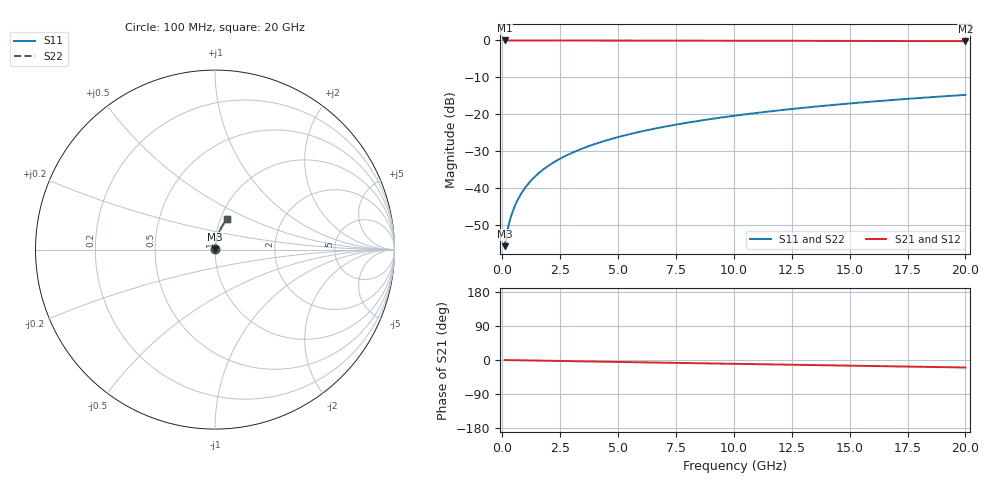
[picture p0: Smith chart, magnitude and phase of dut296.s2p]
! Touchstone file exported from HFSS 2026.1.0
!  File:  C:/ffzhzh/LocalFiles/Ansys_Project_Files/temp_train_BSMRDL_296_1782989355_45328.aedt
!  Generated:  06:50:26 PM Jul  2, 2026
!  Design:  BSMRDL
!  Project:  temp_train_BSMRDL_296_1782989355_45328
! Variables:
!  h_bsmrdl = 5.5um
!  h_ox = 20um
!  h_rdl = 5um
!  h_sub = 80um
!  h_tmrdl = 5um
!  h_tsv = 80um
!  h_via = 3um
!  l_bsmrdl = 279.27um
!  l_sub = 679.27um
!  l_tmrdl = 200um
!  m_sub = 200um
!  pitch = 37.09um
!  r_tsv = 6um
!  s_tmrdl = 10um
!  w_bsmrdl = 16.18um
!  w_sub = 500um
!  w_tmrdl = 12um
!  x_tsv_center1 = 206um
!  x_tsv_center2 = 501.45um
!  x_tsv_center3 = 713.45um
!  x_tsv_center4 = 1008.9um
!  x_tsv_center5 = 1220.9um
!  x_tsv_center6 = 1516.35um
# GHz S MA R 50.000000
! Terminal data exported
! Port[1] = BSM_RDL1_1_T1
! Port[2] = BSM_RDL1_1_T2
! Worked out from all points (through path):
!   200 points, 100 MHz to 20 GHz, reference 50 ohm
!   highest |S21| = -0.01 dB at 100 MHz (marker M1); lowest = -0.2 dB at 20 GHz (marker M2)
!   group delay of S21, straight-line fit = 2.74 ps
!   lowest |S11| = -55.7 dB at 100 MHz (marker M3), VSWR 1.00, Z = 50.1 + j0.109 ohm
!   |S11| at or under -10 dB: start of sweep to end of sweep
!   |S22| runs from -55.7 to -14.7 dB; largest |S21 - S12| = 6.5e-15
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0.1  0.001646 41.5  0.9988 -0.1  0.9988 -0.1  0.001646 41.5
! Gamma 0 0 0 0
! Port Impedance 50 0 50 0
0.2  0.002495 58.6  0.9987 -0.2  0.9987 -0.2  0.002495 58.6
0.3  0.00342 66.6  0.9986 -0.3  0.9986 -0.3  0.00342 66.6
0.4  0.00437 71.2  0.9986 -0.4  0.9986 -0.4  0.00437 71.2
0.5  0.005337 74.2  0.9986 -0.5  0.9986 -0.5  0.005337 74.2
0.6  0.006315 76.3  0.9985 -0.6  0.9985 -0.6  0.006315 76.3
0.8  0.008289 79.0  0.9985 -0.8  0.9985 -0.8  0.008289 79.0
1.1  0.01127 81.0  0.9984 -1.1  0.9984 -1.1  0.01127 81.0
1.3  0.01327 81.7  0.9983 -1.4  0.9983 -1.4  0.01327 81.7
1.5  0.01526 82.2  0.9982 -1.6  0.9982 -1.6  0.01526 82.2
1.8  0.01824 82.6  0.9981 -1.9  0.9981 -1.9  0.01824 82.6
2.1  0.02121 82.8  0.9979 -2.2  0.9979 -2.2  0.02121 82.8
2.7  0.02711 82.7  0.9975 -2.8  0.9975 -2.8  0.02711 82.7
3.5  0.03488 82.4  0.9969 -3.6  0.9969 -3.6  0.03488 82.4
4.2  0.0416 81.9  0.9964 -4.3  0.9964 -4.3  0.0416 81.9
5  0.0492 81.3  0.9957 -5.1  0.9957 -5.1  0.0492 81.3
6.8  0.06607 79.9  0.9941 -6.9  0.9941 -6.9  0.06607 79.9
8.3  0.07996 78.6  0.9926 -8.4  0.9926 -8.4  0.07996 78.6
10.1  0.09644 77.1  0.9907 -10.2  0.9907 -10.2  0.09644 77.1
13.4  0.1261 74.2  0.9867 -13.4  0.9867 -13.4  0.1261 74.2
16.7  0.1551 71.2  0.982 -16.6  0.982 -16.6  0.1551 71.2
20  0.1832 68.2  0.9766 -19.8  0.9766 -19.8  0.1832 68.2
